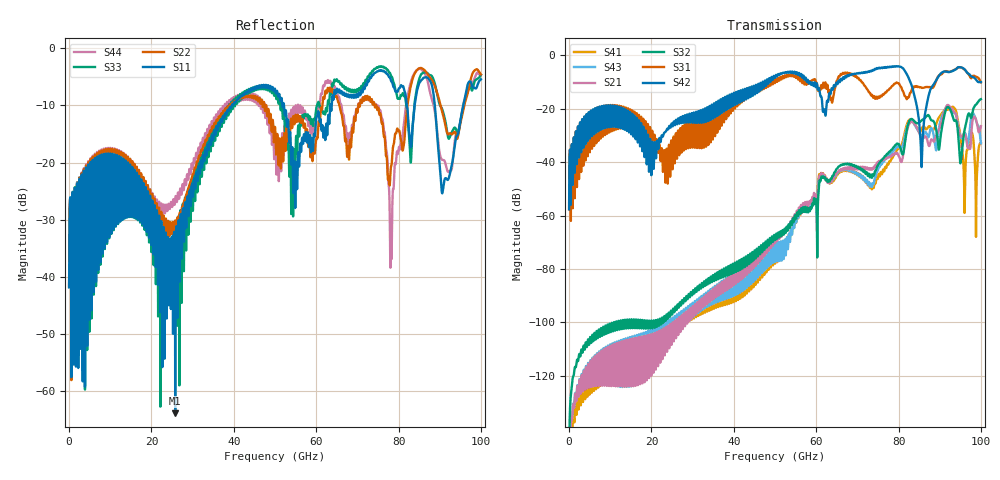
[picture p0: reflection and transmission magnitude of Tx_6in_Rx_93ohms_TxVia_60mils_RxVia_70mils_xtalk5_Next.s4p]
! Info: Touchstone file created by Circ.  Input file=Tx_6in_Rx_93ohms_TxVia_60mils_RxVia_70mils.circ
# Hz S RI R 50
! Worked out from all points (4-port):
!   10000 points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, 10 MHz to 100 GHz, reference 50 ohm
!   strongest paths, dB at 10 MHz, 25.01 GHz, 50.01 GHz, 75.01 GHz, 100 GHz:
!     S42: -57.7, -25.8, -8.4, -5.0, -10.0
!     S31: -57.7, -36.7, -10.3, -15.7, -10.1
!     S32: -156.6, -97.1, -69.2, -41.2, -16.4
!     S21: -167.3, -102.4, -70.4, -40.5, -26.5
!     S43: -158.1, -99.9, -76.6, -42.7, -33.0
!     S41: -158.3, -100.9, -78.0, -45.7, -32.9
!   lowest |S11| = -63.9 dB at 25.77 GHz (marker M1), VSWR 1.00, Z = 50.1 + j0.00716 ohm
!   |S11| at or under -10 dB: start of sweep to 39.5 GHz; 52.19 GHz to 63.4 GHz (11.21 GHz wide, 19.4 % of centre); 88.81 GHz to 95.74 GHz (6.922 GHz wide, 7.5 % of centre) (the widest 3 of 6)
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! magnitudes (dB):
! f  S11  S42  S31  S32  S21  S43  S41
! 10 MHz  -41.8  -57.7  -57.7  -156.6  -167.3  -158.1  -158.3
! 7.67 GHz  -27.4  -27.9  -31.2  -102.8  -115.7  -115.0  -121.9
! 25.77 GHz  -63.9  -25.9  -33.0  -94.3  -100.1  -98.9  -98.9
! 43.72 GHz  -7.6  -12.5  -12.4  -78.1  -81.4  -86.0  -88.0
! 78.21 GHz  -5.8  -4.4  -12.0  -35.4  -37.6  -36.6  -38.9
! 85.58 GHz  -5.6  -41.7  -12.2  -24.4  -31.1  -30.1  -27.8
! 100 GHz  -5.4  -10.0  -10.1  -16.4  -26.5  -33.0  -32.9
